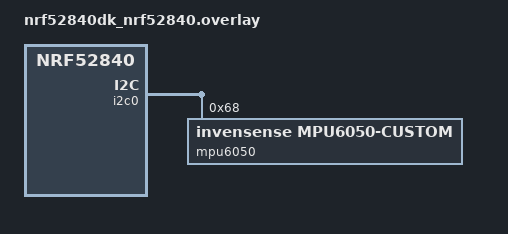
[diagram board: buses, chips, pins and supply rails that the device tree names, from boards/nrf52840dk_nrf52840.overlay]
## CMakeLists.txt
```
# SPDX-License-Identifier: Apache-2.0

cmake_minimum_required(VERSION 3.20.0)

# Add custom drivers module
list(APPEND ZEPHYR_EXTRA_MODULES ${CMAKE_CURRENT_SOURCE_DIR}/../../modules/custom_drivers)

find_package(Zephyr REQUIRED HINTS $ENV{ZEPHYR_BASE})
project(mpu6050_example)

target_sources(app PRIVATE src/main.c)
```

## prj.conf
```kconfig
# MPU6050 Example Application Configuration

# Logging
CONFIG_LOG=y
CONFIG_LOG_MODE_IMMEDIATE=y

# I2C
CONFIG_I2C=y

# GPIO (for interrupt)
CONFIG_GPIO=y

# Enable MPU6050 driver
CONFIG_MPU6050_CUSTOM=y
CONFIG_MPU6050_CUSTOM_LOG_LEVEL_INF=y
CONFIG_MPU6050_SHELL=y

# Shell
CONFIG_SHELL=y
CONFIG_SHELL_BACKEND_SERIAL=y

# Serial console
CONFIG_SERIAL=y
CONFIG_CONSOLE=y
CONFIG_UART_CONSOLE=y

# Floating point
CONFIG_FPU=y
CONFIG_CBPRINTF_FP_SUPPORT=y
```

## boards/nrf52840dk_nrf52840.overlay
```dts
/* MPU6050 Example - nRF52840 DK Board Overlay */

&i2c0 {
    status = "okay";

    mpu6050: mpu6050@68 {
        compatible = "invensense,mpu6050-custom";
        reg = <0x68>;
        /* Optional interrupt GPIO */
        /* int-gpios = <&gpio0 11 GPIO_ACTIVE_HIGH>; */
    };
};
```

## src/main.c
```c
/**
 * @file main.c
 * @brief MPU6050 Example Application
 *
 * Demonstrates reading accelerometer and gyroscope data from MPU6050.
 *
 * SPDX-License-Identifier: Apache-2.0
 */

#include <zephyr/kernel.h>
#include <zephyr/device.h>
#include <zephyr/logging/log.h>
#include <math.h>

#include "mpu6050.h"

LOG_MODULE_REGISTER(main, LOG_LEVEL_INF);

/* Get device from devicetree */
#if DT_NODE_EXISTS(DT_NODELABEL(mpu6050))
#define MPU6050_NODE DT_NODELABEL(mpu6050)
#else
#error "No mpu6050 node found in devicetree"
#endif

static void print_orientation(const struct mpu6050_data *data)
{
    /* Calculate pitch and roll from accelerometer data */
    float pitch = atan2f(data->accel_x,
                         sqrtf(data->accel_y * data->accel_y +
                               data->accel_z * data->accel_z)) * 180.0f / 3.14159f;

    float roll = atan2f(data->accel_y,
                        sqrtf(data->accel_x * data->accel_x +
                              data->accel_z * data->accel_z)) * 180.0f / 3.14159f;

    LOG_INF("Orientation: Pitch=%.1f, Roll=%.1f degrees",
            (double)pitch, (double)roll);
}

int main(void)
{
    const struct device *dev = DEVICE_DT_GET(MPU6050_NODE);
    struct mpu6050_data data;
    uint8_t id;
    int ret;

    LOG_INF("MPU6050 Example Application");
    LOG_INF("===========================");

    /* Check device is ready */
    if (!device_is_ready(dev)) {
        LOG_ERR("MPU6050 device not ready");
        return -ENODEV;
    }

    /* Read WHO_AM_I */
    ret = mpu6050_who_am_i(dev, &id);
    if (ret < 0) {
        LOG_ERR("Failed to read WHO_AM_I: %d", ret);
        return ret;
    }
    LOG_INF("WHO_AM_I: 0x%02x", id);

    /* Configure sensor */
    struct mpu6050_config cfg = {
        .accel_fs = MPU6050_ACCEL_FS_2G,
        .gyro_fs = MPU6050_GYRO_FS_250DPS,
        .sample_rate_div = 9,  /* 100 Hz sample rate */
        .dlpf_cfg = 6,         /* 5 Hz low-pass filter */
    };

    ret = mpu6050_configure(dev, &cfg);
    if (ret < 0) {
        LOG_ERR("Configuration failed: %d", ret);
        return ret;
    }
    LOG_INF("Sensor configured");

    LOG_INF("");
    LOG_INF("Reading sensor data...");
    LOG_INF("");

    /* Main loop */
    while (1) {
        ret = mpu6050_read(dev, &data);
        if (ret < 0) {
            LOG_ERR("Read failed: %d", ret);
        } else {
            LOG_INF("Accel: X=%.2f, Y=%.2f, Z=%.2f m/s^2",
                    (double)data.accel_x,
                    (double)data.accel_y,
                    (double)data.accel_z);

            LOG_INF("Gyro:  X=%.2f, Y=%.2f, Z=%.2f rad/s",
                    (double)data.gyro_x,
                    (double)data.gyro_y,
                    (double)data.gyro_z);

            LOG_INF("Temp:  %.1f C", (double)data.temp);

            print_orientation(&data);

            LOG_INF("");
        }

        k_sleep(K_MSEC(500));
    }

    return 0;
}
```
